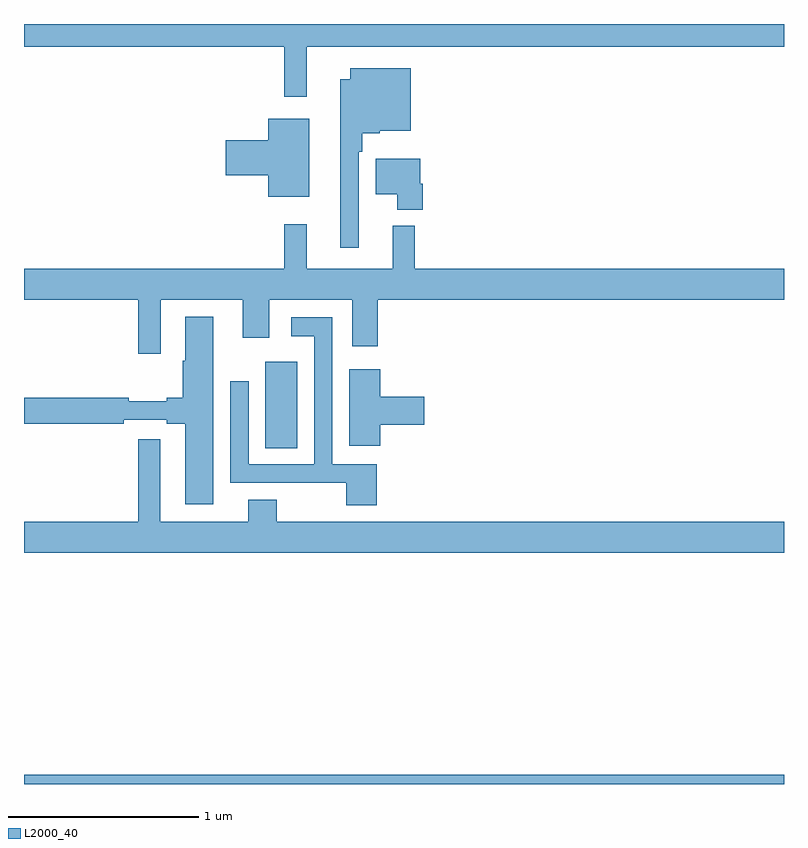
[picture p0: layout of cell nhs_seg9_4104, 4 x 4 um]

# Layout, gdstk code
import gdstk
lib = gdstk.Library(unit=1e-6, precision=1e-09)
def R(c, l, rs):  # rectangles x0, y0, x1, y1
    for r in rs: c.add(gdstk.rectangle(r[:2], r[2:], *l))
def P(c, l, *ps):  # polygons
    for p in ps: c.add(gdstk.Polygon(p, *l))
L2000_40 = (2000, 40)

nhs_seg9_4104 = lib.new_cell('nhs_seg9_4104')
R(nhs_seg9_4104, L2000_40, [(345,1232.5,349,1232.548), (346.271,1234.267,346.438,1234.723)])
P(nhs_seg9_4104, L2000_40, [(346.488,1236.38),(349,1236.38),(349,1236.5),(345,1236.5),(345,1236.38),(346.369,1236.38),(346.369,1236.117),(346.488,1236.117)],
  [(346.761,1235.828),(346.779,1235.828),(346.779,1235.924),(346.872,1235.924),(346.872,1235.939),(347.035,1235.939),(347.035,1236.268),(346.718,1236.268),(346.718,1236.208),(346.664,1236.208),(346.664,1235.322),(346.761,1235.322)],
  [(346.501,1236.001),(346.286,1236.001),(346.286,1235.888),(346.062,1235.888),(346.062,1235.705),(346.286,1235.705),(346.286,1235.591),(346.501,1235.591)],
  [(347.099,1235.658),(347.086,1235.658),(347.086,1235.791),(346.851,1235.791),(346.851,1235.603),(346.964,1235.603),(346.964,1235.522),(347.099,1235.522)],
  [(345.721,1235.048),(346.151,1235.048),(346.151,1234.848),(346.291,1234.848),(346.291,1235.048),(346.727,1235.048),(346.727,1234.803),(346.862,1234.803),(346.862,1235.048),(349,1235.048),(349,1235.212),(347.057,1235.212),(347.057,1235.437),(346.94,1235.437),(346.94,1235.212),(346.487,1235.212),(346.487,1235.446),(346.369,1235.446),(346.369,1235.212),(345,1235.212),(345,1235.048),(345.6,1235.048),(345.6,1234.764),(345.721,1234.764)],
  [(345.997,1234.96),(345.848,1234.96),(345.848,1234.728),(345.836,1234.728),(345.836,1234.532),(345.752,1234.532),(345.752,1234.515),(345.552,1234.515),(345.552,1234.532),(345,1234.532),(345,1234.396),(345.524,1234.396),(345.524,1234.416),(345.752,1234.416),(345.752,1234.396),(345.848,1234.396),(345.848,1233.972),(345.997,1233.972)],
  [(346.856,1234.182),(346.623,1234.182),(346.623,1234.957),(346.407,1234.957),(346.407,1234.856),(346.527,1234.856),(346.527,1234.182),(346.182,1234.182),(346.182,1234.621),(346.086,1234.621),(346.086,1234.086),(346.43,1234.086),(346.43,1234.085),(346.696,1234.085),(346.696,1233.966),(346.856,1233.966)],
  [(346.874,1234.391),(347.107,1234.391),(347.107,1234.538),(346.874,1234.538),(346.874,1234.684),(346.712,1234.684),(346.712,1234.281),(346.874,1234.281)],
  [(349,1233.88),(346.329,1233.88),(346.329,1233.997),(346.181,1233.997),(346.181,1233.88),(345.718,1233.88),(345.718,1234.315),(345.601,1234.315),(345.601,1233.88),(345,1233.88),(345,1233.716),(349,1233.716)])

lib.write_gds('nhs_seg9_4104.gds')
